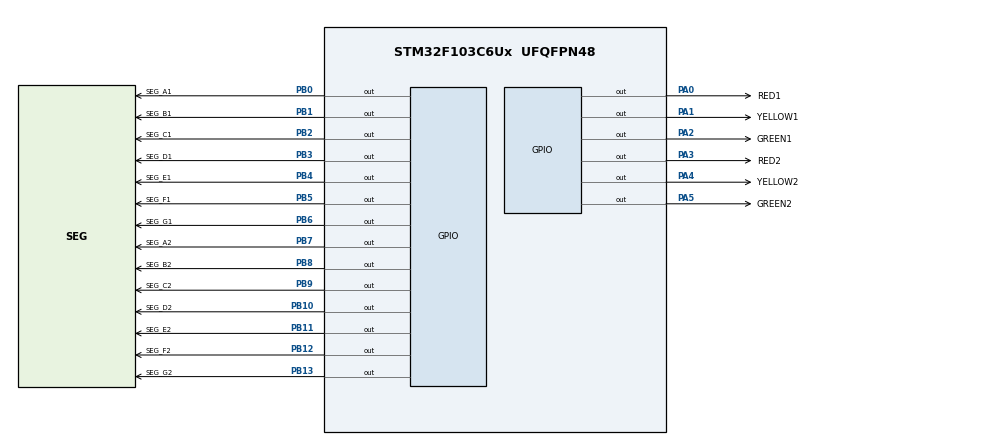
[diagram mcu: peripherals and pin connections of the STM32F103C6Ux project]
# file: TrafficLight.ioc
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Mcu.Family=STM32F1
Mcu.Name=STM32F103C6Ux
Mcu.Package=UFQFPN48
NVIC.PriorityGroup=NVIC_PRIORITYGROUP_4
PA0-WKUP.GPIO_Label=RED1
PA0-WKUP.Signal=GPIO_Output
PA1.GPIO_Label=YELLOW1
PA1.Signal=GPIO_Output
PA2.GPIO_Label=GREEN1
PA2.Signal=GPIO_Output
PA3.GPIO_Label=RED2
PA3.Signal=GPIO_Output
PA4.GPIO_Label=YELLOW2
PA4.Signal=GPIO_Output
PA5.GPIO_Label=GREEN2
PA5.Signal=GPIO_Output
PB0.GPIO_Label=SEG_A1
PB0.Signal=GPIO_Output
PB1.GPIO_Label=SEG_B1
PB1.Signal=GPIO_Output
PB10.GPIO_Label=SEG_D2
PB10.Signal=GPIO_Output
PB11.GPIO_Label=SEG_E2
PB11.Signal=GPIO_Output
PB12.GPIO_Label=SEG_F2
PB12.Signal=GPIO_Output
PB13.GPIO_Label=SEG_G2
PB13.Signal=GPIO_Output
PB2.GPIO_Label=SEG_C1
PB2.Signal=GPIO_Output
PB3.GPIO_Label=SEG_D1
PB3.Signal=GPIO_Output
PB4.GPIO_Label=SEG_E1
PB4.Signal=GPIO_Output
PB5.GPIO_Label=SEG_F1
PB5.Signal=GPIO_Output
PB6.GPIO_Label=SEG_G1
PB6.Signal=GPIO_Output
PB7.GPIO_Label=SEG_A2
PB7.Signal=GPIO_Output
PB8.GPIO_Label=SEG_B2
PB8.Signal=GPIO_Output
PB9.GPIO_Label=SEG_C2
PB9.Signal=GPIO_Output
ProjectManager.HeapSize=0x200
ProjectManager.StackSize=0x400
ProjectManager.TargetToolchain=STM32CubeIDE
RCC.APB1Freq_Value=8000000
RCC.APB2Freq_Value=8000000
VP_SYS_VS_ND.Mode=No_Debug
board=custom

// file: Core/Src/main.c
/* USER CODE BEGIN Header */
/**
  ******************************************************************************
  * @file           : main.c
  * @brief          : Main program body
  ******************************************************************************
  * @attention
  *
  * <h2><center>&copy; Copyright (c) 2026 STMicroelectronics.
  * All rights reserved.</center></h2>
  *
  * This software component is licensed by ST under BSD 3-Clause license,
  * the "License"; You may not use this file except in compliance with the
  * License. You may obtain a copy of the License at:
  *                        opensource.org/licenses/BSD-3-Clause
  *
  ******************************************************************************
  */
/* USER CODE END Header */
#include "main.h"

void SystemClock_Config(void);
static void MX_GPIO_Init(void);

/* USER CODE BEGIN 0 */
/* Helper function to set Traffic Light Set 1 (e.g., North-South) */
void setLight1(GPIO_PinState r, GPIO_PinState y, GPIO_PinState g) {
    HAL_GPIO_WritePin(GPIOA, RED1_Pin, (GPIO_PinState)!r);
    HAL_GPIO_WritePin(GPIOA, YELLOW1_Pin, (GPIO_PinState)!y);
    HAL_GPIO_WritePin(GPIOA, GREEN1_Pin, (GPIO_PinState)!g);
}

/* Helper function to set Traffic Light Set 2 (e.g., East-West) */
void setLight2(GPIO_PinState r, GPIO_PinState y, GPIO_PinState g) {
    HAL_GPIO_WritePin(GPIOA, RED2_Pin, (GPIO_PinState)!r);
    HAL_GPIO_WritePin(GPIOA, YELLOW2_Pin, (GPIO_PinState)!y);
    HAL_GPIO_WritePin(GPIOA, GREEN2_Pin, (GPIO_PinState)!g);
}

/* Segment drive map array (Common Anode: 1 = ON / active-LOW output) */
const uint8_t segOn[10][7] = {
    {1,1,1,1,1,1,0}, // 0
    {0,1,1,0,0,0,0}, // 1
    {1,1,0,1,1,0,1}, // 2
    {1,1,1,1,0,0,1}, // 3
    {0,1,1,0,0,1,1}, // 4
    {1,0,1,1,0,1,1}, // 5
    {1,0,1,1,1,1,1}, // 6
    {1,1,1,0,0,0,0}, // 7
    {1,1,1,1,1,1,1}, // 8
    {1,1,1,1,0,1,1}  // 9
};

/* Display digit on 7-Segment #1 (Direction 1) */
void display7SEG_1(int num) {
    const uint16_t segPins1[7] = {
        SEG_A1_Pin, SEG_B1_Pin, SEG_C1_Pin, SEG_D1_Pin, SEG_E1_Pin, SEG_F1_Pin, SEG_G1_Pin
    };

    if (num < 0 || num > 9) return;

    for (int i = 0; i < 7; i++) {
        HAL_GPIO_WritePin(GPIOB, segPins1[i], segOn[num][i] ? GPIO_PIN_RESET : GPIO_PIN_SET);
    }
}

/* Display digit on 7-Segment #2 (Direction 2) */
void display7SEG_2(int num) {
    const uint16_t segPins2[7] = {
        SEG_A2_Pin, SEG_B2_Pin, SEG_C2_Pin, SEG_D2_Pin, SEG_E2_Pin, SEG_F2_Pin, SEG_G2_Pin
    };

    if (num < 0 || num > 9) return;

    for (int i = 0; i < 7; i++) {
        HAL_GPIO_WritePin(GPIOB, segPins2[i], segOn[num][i] ? GPIO_PIN_RESET : GPIO_PIN_SET);
    }
}

void ex3(void) {
    /* Phase 1: Direction 1 GREEN, Direction 2 RED (3s) */
    setLight1(GPIO_PIN_RESET, GPIO_PIN_RESET, GPIO_PIN_SET);
    setLight2(GPIO_PIN_SET, GPIO_PIN_RESET, GPIO_PIN_RESET);
    HAL_Delay(3000);

    /* Phase 2: Direction 1 YELLOW, Direction 2 RED (2s) */
    setLight1(GPIO_PIN_RESET, GPIO_PIN_SET, GPIO_PIN_RESET);
    HAL_Delay(2000);

    /* Phase 3: Direction 1 RED, Direction 2 GREEN (3s) */
    setLight1(GPIO_PIN_SET, GPIO_PIN_RESET, GPIO_PIN_RESET);
    setLight2(GPIO_PIN_RESET, GPIO_PIN_RESET, GPIO_PIN_SET);
    HAL_Delay(3000);

    /* Phase 4: Direction 1 RED, Direction 2 YELLOW (2s) */
    setLight2(GPIO_PIN_RESET, GPIO_PIN_SET, GPIO_PIN_RESET);
    HAL_Delay(2000);
}

void ex4(void) {
    int counter = 0;
    while (1) {
        if (counter >= 10) counter = 0;
        display7SEG_1(counter++);
        HAL_Delay(1000);
    }
}

void ex5(void) {
    /* Timing durations (in seconds):
       GREEN  = 3s
       YELLOW = 2s
       RED    = 5s (GREEN + YELLOW)
    */
    int count1 = 3; // Direction 1 starts GREEN (3s)
    int count2 = 5; // Direction 2 starts RED (5s)

    /* Phase 1: Direction 1 GREEN (3s), Direction 2 RED (3s remaining) */
    setLight1(GPIO_PIN_RESET, GPIO_PIN_RESET, GPIO_PIN_SET);
    setLight2(GPIO_PIN_SET, GPIO_PIN_RESET, GPIO_PIN_RESET);
    while (count1 > 0) {
        display7SEG_1(count1--);
        display7SEG_2(count2--);
        HAL_Delay(1000);
    }

    /* Phase 2: Direction 1 YELLOW (2s), Direction 2 RED (2s remaining) */
    count1 = 2;
    setLight1(GPIO_PIN_RESET, GPIO_PIN_SET, GPIO_PIN_RESET);
    while (count1 > 0) {
        display7SEG_1(count1--);
        display7SEG_2(count2--);
        HAL_Delay(1000);
    }

    /* Phase 3: Direction 1 RED (5s), Direction 2 GREEN (3s) */
    count1 = 5;
    count2 = 3;
    setLight1(GPIO_PIN_SET, GPIO_PIN_RESET, GPIO_PIN_RESET);
    setLight2(GPIO_PIN_RESET, GPIO_PIN_RESET, GPIO_PIN_SET);
    while (count2 > 0) {
        display7SEG_1(count1--);
        display7SEG_2(count2--);
        HAL_Delay(1000);
    }

    /* Phase 4: Direction 1 RED (2s remaining), Direction 2 YELLOW (2s) */
    count2 = 2;
    setLight2(GPIO_PIN_RESET, GPIO_PIN_SET, GPIO_PIN_RESET);
    while (count2 > 0) {
        display7SEG_1(count1--);
        display7SEG_2(count2--);
        HAL_Delay(1000);
    }
}
/* USER CODE END 0 */

int main(void)
{

  /* MCU Configuration--------------------------------------------------------*/

  /* Reset of all peripherals, Initializes the Flash interface and the Systick. */
  HAL_Init();

  /* Configure the system clock */
  SystemClock_Config();

  /* Initialize all configured peripherals */
  MX_GPIO_Init();

  /* Infinite loop */
  /* USER CODE BEGIN WHILE */
  while (1)
  {
      ex5();
    /* USER CODE END WHILE */

  }
}

void SystemClock_Config(void)
{
  RCC_OscInitTypeDef RCC_OscInitStruct = {0};
  RCC_ClkInitTypeDef RCC_ClkInitStruct = {0};

  /** Initializes the RCC Oscillators according to the specified parameters
  * in the RCC_OscInitTypeDef structure.
  */
  RCC_OscInitStruct.OscillatorType = RCC_OSCILLATORTYPE_HSI;
  RCC_OscInitStruct.HSIState = RCC_HSI_ON;
  RCC_OscInitStruct.HSICalibrationValue = RCC_HSICALIBRATION_DEFAULT;
  RCC_OscInitStruct.PLL.PLLState = RCC_PLL_NONE;
  if (HAL_RCC_OscConfig(&RCC_OscInitStruct) != HAL_OK)
  {
    Error_Handler();
  }
  /** Initializes the CPU, AHB and APB buses clocks
  */
  RCC_ClkInitStruct.ClockType = RCC_CLOCKTYPE_HCLK|RCC_CLOCKTYPE_SYSCLK
                              |RCC_CLOCKTYPE_PCLK1|RCC_CLOCKTYPE_PCLK2;
  RCC_ClkInitStruct.SYSCLKSource = RCC_SYSCLKSOURCE_HSI;
  RCC_ClkInitStruct.AHBCLKDivider = RCC_SYSCLK_DIV1;
  RCC_ClkInitStruct.APB1CLKDivider = RCC_HCLK_DIV1;
  RCC_ClkInitStruct.APB2CLKDivider = RCC_HCLK_DIV1;

  if (HAL_RCC_ClockConfig(&RCC_ClkInitStruct, FLASH_LATENCY_0) != HAL_OK)
  {
    Error_Handler();
  }
}

static void MX_GPIO_Init(void)
{
  GPIO_InitTypeDef GPIO_InitStruct = {0};

  /* GPIO Ports Clock Enable */
  __HAL_RCC_GPIOA_CLK_ENABLE();
  __HAL_RCC_GPIOB_CLK_ENABLE();

  /*Configure GPIO pin Output Level */
  HAL_GPIO_WritePin(GPIOA, RED1_Pin|YELLOW1_Pin|GREEN1_Pin|RED2_Pin
                          |YELLOW2_Pin|GREEN2_Pin, GPIO_PIN_RESET);

  /*Configure GPIO pin Output Level */
  HAL_GPIO_WritePin(GPIOB, SEG_A1_Pin|SEG_B1_Pin|SEG_C1_Pin|SEG_D2_Pin
                          |SEG_E2_Pin|SEG_F2_Pin|SEG_G2_Pin|SEG_D1_Pin
                          |SEG_E1_Pin|SEG_F1_Pin|SEG_G1_Pin|SEG_A2_Pin
                          |SEG_B2_Pin|SEG_C2_Pin, GPIO_PIN_RESET);

  /*Configure GPIO pins : RED1_Pin YELLOW1_Pin GREEN1_Pin RED2_Pin
                           YELLOW2_Pin GREEN2_Pin */
  GPIO_InitStruct.Pin = RED1_Pin|YELLOW1_Pin|GREEN1_Pin|RED2_Pin
                          |YELLOW2_Pin|GREEN2_Pin;
  GPIO_InitStruct.Mode = GPIO_MODE_OUTPUT_PP;
  GPIO_InitStruct.Pull = GPIO_NOPULL;
  GPIO_InitStruct.Speed = GPIO_SPEED_FREQ_LOW;
  HAL_GPIO_Init(GPIOA, &GPIO_InitStruct);

  /*Configure GPIO pins : SEG_A1_Pin SEG_B1_Pin SEG_C1_Pin SEG_D2_Pin
                           SEG_E2_Pin SEG_F2_Pin SEG_G2_Pin SEG_D1_Pin
                           SEG_E1_Pin SEG_F1_Pin SEG_G1_Pin SEG_A2_Pin
                           SEG_B2_Pin SEG_C2_Pin */
  GPIO_InitStruct.Pin = SEG_A1_Pin|SEG_B1_Pin|SEG_C1_Pin|SEG_D2_Pin
                          |SEG_E2_Pin|SEG_F2_Pin|SEG_G2_Pin|SEG_D1_Pin
                          |SEG_E1_Pin|SEG_F1_Pin|SEG_G1_Pin|SEG_A2_Pin
                          |SEG_B2_Pin|SEG_C2_Pin;
  GPIO_InitStruct.Mode = GPIO_MODE_OUTPUT_PP;
  GPIO_InitStruct.Pull = GPIO_NOPULL;
  GPIO_InitStruct.Speed = GPIO_SPEED_FREQ_LOW;
  HAL_GPIO_Init(GPIOB, &GPIO_InitStruct);

}

void Error_Handler(void)
{
  __disable_irq();
  while (1)
  {
  }
}
